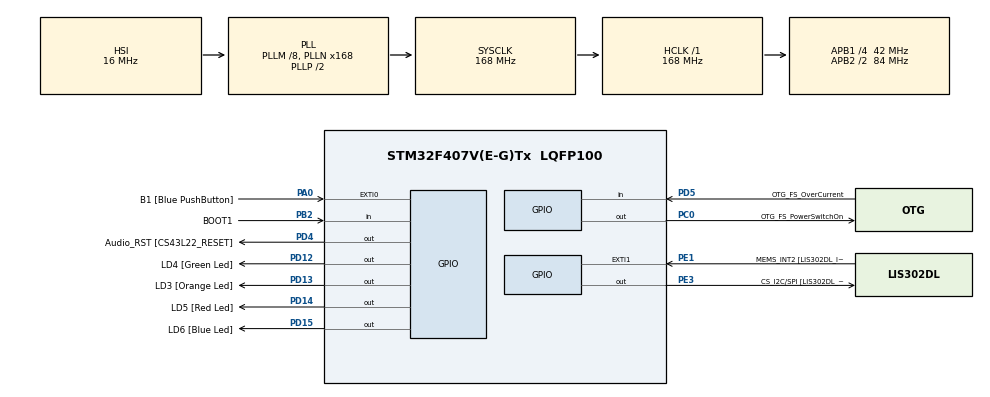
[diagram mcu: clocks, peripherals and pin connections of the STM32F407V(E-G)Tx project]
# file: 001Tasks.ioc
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Mcu.Family=STM32F4
Mcu.Name=STM32F407V(E-G)Tx
Mcu.Package=LQFP100
NVIC.PriorityGroup=NVIC_PRIORITYGROUP_4
NVIC.TIM6_DAC_IRQn=true\:15\:0\:false\:false\:true\:false\:true\:true
NVIC.TimeBase=TIM6_DAC_IRQn
NVIC.TimeBaseIP=TIM6
PA0-WKUP.GPIO_Label=B1 [Blue PushButton]
PA0-WKUP.Signal=GPXTI0
PA10.GPIO_Label=OTG_FS_ID
PA10.GPIO_Mode=GPIO_MODE_AF_PP
PA10.GPIO_PuPd=GPIO_NOPULL
PA10.GPIO_Speed=GPIO_SPEED_FREQ_LOW
PA10.Signal=USB_OTG_FS_ID
PA11.GPIO_Label=OTG_FS_DM
PA11.GPIO_Mode=GPIO_MODE_AF_PP
PA11.GPIO_PuPd=GPIO_NOPULL
PA11.GPIO_Speed=GPIO_SPEED_FREQ_LOW
PA11.Signal=USB_OTG_FS_DM
PA12.GPIO_Label=OTG_FS_DP
PA12.GPIO_Mode=GPIO_MODE_AF_PP
PA12.GPIO_PuPd=GPIO_NOPULL
PA12.GPIO_Speed=GPIO_SPEED_FREQ_LOW
PA12.Signal=USB_OTG_FS_DP
PA13.GPIO_Label=SWDIO
PA13.Signal=SYS_JTMS-SWDIO
PA14.GPIO_Label=SWCLK
PA14.Signal=SYS_JTCK-SWCLK
PA4.GPIO_Label=I2S3_WS [CS43L22_LRCK]
PA4.GPIO_Mode=GPIO_MODE_AF_PP
PA4.GPIO_PuPd=GPIO_NOPULL
PA4.GPIO_Speed=GPIO_SPEED_FREQ_LOW
PA4.Signal=I2S3_WS
PA5.GPIO_Label=SPI1_SCK [LIS302DL_SCL/SPC]
PA5.GPIO_Mode=GPIO_MODE_AF_PP
PA5.GPIO_PuPd=GPIO_NOPULL
PA5.GPIO_Speed=GPIO_SPEED_FREQ_LOW
PA5.Signal=SPI1_SCK
PA6.GPIO_Label=SPI1_MISO [LIS302DL_SDO]
PA6.GPIO_Mode=GPIO_MODE_AF_PP
PA6.GPIO_PuPd=GPIO_NOPULL
PA6.GPIO_Speed=GPIO_SPEED_FREQ_LOW
PA6.Signal=SPI1_MISO
PA7.GPIO_Label=SPI1_MOSI [LIS302DL_SDA/SDI/SDO]
PA7.GPIO_Mode=GPIO_MODE_AF_PP
PA7.GPIO_PuPd=GPIO_NOPULL
PA7.GPIO_Speed=GPIO_SPEED_FREQ_LOW
PA7.Signal=SPI1_MOSI
PA9.GPIO_Label=VBUS_FS
PA9.GPIO_Mode=GPIO_MODE_INPUT
PA9.GPIO_PuPd=GPIO_NOPULL
PA9.Signal=USB_OTG_FS_VBUS
PB10.GPIO_Label=CLK_IN [MP45DT02_CLK]
PB10.GPIO_Mode=GPIO_MODE_AF_PP
PB10.GPIO_PuPd=GPIO_NOPULL
PB10.GPIO_Speed=GPIO_SPEED_FREQ_LOW
PB10.Signal=I2S2_CK
PB2.GPIO_Label=BOOT1
PB2.GPIO_Mode=GPIO_MODE_INPUT
PB2.GPIO_PuPd=GPIO_NOPULL
PB2.Signal=GPIO_Input
PB3.GPIO_Label=SWO
PB3.Signal=SYS_JTDO-SWO
PB6.GPIO_Label=Audio_SCL [CS43L22_SCL]
PB6.GPIO_Mode=GPIO_MODE_AF_OD
PB6.GPIO_PuPd=GPIO_NOPULL
PB6.GPIO_Speed=GPIO_SPEED_FREQ_LOW
PB6.Signal=I2C1_SCL
PB9.GPIO_Label=Audio_SDA [CS43L22_SDA]
PB9.GPIO_Mode=GPIO_MODE_AF_OD
PB9.GPIO_PuPd=GPIO_NOPULL
PB9.GPIO_Speed=GPIO_SPEED_FREQ_LOW
PB9.Signal=I2C1_SDA
PC0.GPIO_Label=OTG_FS_PowerSwitchOn
PC0.GPIO_PuPd=GPIO_NOPULL
PC0.GPIO_Speed=GPIO_SPEED_FREQ_LOW
PC0.PinState=GPIO_PIN_SET
PC0.Signal=GPIO_Output
PC10.GPIO_Label=I2S3_SCK [CS43L22_SCLK]
PC10.GPIO_Mode=GPIO_MODE_AF_PP
PC10.GPIO_PuPd=GPIO_NOPULL
PC10.GPIO_Speed=GPIO_SPEED_FREQ_LOW
PC10.Signal=I2S3_CK
PC12.GPIO_Label=I2S3_SD [CS43L22_SDIN]
PC12.GPIO_Mode=GPIO_MODE_AF_PP
PC12.GPIO_PuPd=GPIO_NOPULL
PC12.GPIO_Speed=GPIO_SPEED_FREQ_LOW
PC12.Signal=I2S3_SD
PC14-OSC32_IN.GPIO_Label=PC14-OSC32_IN
PC14-OSC32_IN.Signal=RCC_OSC32_IN
PC15-OSC32_OUT.GPIO_Label=PC15-OSC32_OUT
PC15-OSC32_OUT.Signal=RCC_OSC32_OUT
PC3.GPIO_Label=PDM_OUT [MP45DT02_DOUT]
PC3.GPIO_Mode=GPIO_MODE_AF_PP
PC3.GPIO_PuPd=GPIO_NOPULL
PC3.GPIO_Speed=GPIO_SPEED_FREQ_LOW
PC3.Signal=I2S2_SD
PC7.GPIO_Label=I2S3_MCK [CS43L22_MCLK]
PC7.GPIO_Mode=GPIO_MODE_AF_PP
PC7.GPIO_PuPd=GPIO_NOPULL
PC7.GPIO_Speed=GPIO_SPEED_FREQ_LOW
PC7.Signal=I2S3_MCK
PD12.GPIO_Label=LD4 [Green Led]
PD12.GPIO_PuPd=GPIO_NOPULL
PD12.GPIO_Speed=GPIO_SPEED_FREQ_LOW
PD12.Signal=GPIO_Output
PD13.GPIO_Label=LD3 [Orange Led]
PD13.GPIO_PuPd=GPIO_NOPULL
PD13.GPIO_Speed=GPIO_SPEED_FREQ_LOW
PD13.Signal=GPIO_Output
PD14.GPIO_Label=LD5 [Red Led]
PD14.GPIO_PuPd=GPIO_NOPULL
PD14.GPIO_Speed=GPIO_SPEED_FREQ_LOW
PD14.Signal=GPIO_Output
PD15.GPIO_Label=LD6 [Blue Led]
PD15.GPIO_PuPd=GPIO_NOPULL
PD15.GPIO_Speed=GPIO_SPEED_FREQ_LOW
PD15.Signal=GPIO_Output
PD4.GPIO_Label=Audio_RST [CS43L22_RESET]
PD4.GPIO_PuPd=GPIO_NOPULL
PD4.GPIO_Speed=GPIO_SPEED_FREQ_LOW
PD4.Signal=GPIO_Output
PD5.GPIO_Label=OTG_FS_OverCurrent
PD5.GPIO_Mode=GPIO_MODE_INPUT
PD5.GPIO_PuPd=GPIO_NOPULL
PD5.Signal=GPIO_Input
PE1.GPIO_Label=MEMS_INT2 [LIS302DL_INT2]
PE1.GPIO_ModeDefaultEXTI=GPIO_MODE_EVT_RISING
PE1.GPIO_PuPd=GPIO_NOPULL
PE1.Signal=GPXTI1
PE3.GPIO_Label=CS_I2C/SPI [LIS302DL_CS_I2C/SPI]
PE3.GPIO_PuPd=GPIO_NOPULL
PE3.GPIO_Speed=GPIO_SPEED_FREQ_LOW
PE3.Signal=GPIO_Output
PH0-OSC_IN.GPIO_Label=PH0-OSC_IN
PH0-OSC_IN.Signal=RCC_OSC_IN
PH1-OSC_OUT.GPIO_Label=PH1-OSC_OUT
PH1-OSC_OUT.Signal=RCC_OSC_OUT
ProjectManager.HeapSize=0x200
ProjectManager.StackSize=0x400
ProjectManager.TargetToolchain=STM32CubeIDE
RCC.48MHZClocksFreq_Value=48000000
RCC.AHBFreq_Value=168000000
RCC.APB1CLKDivider=RCC_HCLK_DIV4
RCC.APB1Freq_Value=42000000
RCC.APB1TimFreq_Value=84000000
RCC.APB2CLKDivider=RCC_HCLK_DIV2
RCC.APB2Freq_Value=84000000
RCC.APB2TimFreq_Value=168000000
RCC.CortexFreq_Value=168000000
RCC.HCLKFreq_Value=168000000
RCC.HSE_VALUE=8000000
RCC.HSI_VALUE=16000000
RCC.LSE_VALUE=32768
RCC.PLLM=8
RCC.PLLN=168
RCC.PLLQ=7
RCC.SYSCLKFreq_VALUE=168000000
RCC.SYSCLKSource=RCC_SYSCLKSOURCE_PLLCLK
RCC.VCOOutputFreq_Value=336000000
VP_SYS_VS_tim6.Mode=TIM6
board=STM32F407G-DISC1

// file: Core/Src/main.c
/* USER CODE BEGIN Header */
/**
  ******************************************************************************
  * @file           : main.c
  * @brief          : Main program body
  ******************************************************************************
  * @attention
  *
  * Copyright (c) 2025 STMicroelectronics.
  * All rights reserved.
  *
  * This software is licensed under terms that can be found in the LICENSE file
  * in the root directory of this software component.
  * If no LICENSE file comes with this software, it is provided AS-IS.
  *
  ******************************************************************************
  */
/* USER CODE END Header */
#include "main.h"

/* USER CODE BEGIN Includes */
#include <stdio.h>
#include "FreeRTOS.h"
#include "task.h"
/* USER CODE END Includes */

/* USER CODE BEGIN PV */

#define DWT_CTRL 			(*(volatile uint32_t*)0xE0001000)

/* USER CODE END PV */

void SystemClock_Config(void);
static void MX_GPIO_Init(void);
/* USER CODE BEGIN PFP */

static void task1_handler(void* parameters);
static void task2_handler(void* parameters);

/* USER CODE END PFP */

/* USER CODE BEGIN 0 */
extern void initialise_monitor_handles(void);
/* USER CODE END 0 */

int main(void)
{

  /* USER CODE BEGIN 1 */
	initialise_monitor_handles();

	TaskHandle_t task1_handle;
	TaskHandle_t task2_handle;

	BaseType_t status;

  /* USER CODE END 1 */

  /* MCU Configuration--------------------------------------------------------*/

  /* Reset of all peripherals, Initializes the Flash interface and the Systick. */
  HAL_Init();

  /* Configure the system clock */
  SystemClock_Config();

  /* Initialize all configured peripherals */
  MX_GPIO_Init();
  /* USER CODE BEGIN 2 */

  //enable the CYCCNT
  DWT_CTRL |= (1 << 0);

  SEGGER_UART_init(500000);

  SEGGER_SYSVIEW_Conf();

  //SEGGER_SYSVIEW_Start();//priority group initializon need for this function, although scheduler setting priority but scheduler run then this func
  //comment in this out because in segger_uart.c we give this function

  status = xTaskCreate(task1_handler, "Task-1", 200, "Hello world from Task-1", 2, &task1_handle);
  configASSERT(status == pdPASS);

  status = xTaskCreate(task2_handler, "Task-2", 200, "Hello world from Task-2", 2, &task2_handle);
  configASSERT(status == pdPASS);

  //start the freeRTOS scheduler
  vTaskStartScheduler();//This function never returns unless there is a problem to launch the scheduler. The problem could be insufficient memory, which is available in your system RAM to launch the scheduler. In that case, this function may return.
  //if the control comes here, then the launch of the scheduler has failed due to insufficient memory. Actually, insufficient memory in the heap

  /* USER CODE END 2 */

  /* Infinite loop */
  while (1)
  {

  }
}

void SystemClock_Config(void)
{
  RCC_OscInitTypeDef RCC_OscInitStruct = {0};
  RCC_ClkInitTypeDef RCC_ClkInitStruct = {0};

  /** Configure the main internal regulator output voltage
  */
  __HAL_RCC_PWR_CLK_ENABLE();
  __HAL_PWR_VOLTAGESCALING_CONFIG(PWR_REGULATOR_VOLTAGE_SCALE1);

  /** Initializes the RCC Oscillators according to the specified parameters
  * in the RCC_OscInitTypeDef structure.
  */
  RCC_OscInitStruct.OscillatorType = RCC_OSCILLATORTYPE_HSI;
  RCC_OscInitStruct.HSIState = RCC_HSI_ON;
  RCC_OscInitStruct.HSICalibrationValue = RCC_HSICALIBRATION_DEFAULT;
  RCC_OscInitStruct.PLL.PLLState = RCC_PLL_ON;
  RCC_OscInitStruct.PLL.PLLSource = RCC_PLLSOURCE_HSI;
  RCC_OscInitStruct.PLL.PLLM = 8;
  RCC_OscInitStruct.PLL.PLLN = 168;
  RCC_OscInitStruct.PLL.PLLP = RCC_PLLP_DIV2;
  RCC_OscInitStruct.PLL.PLLQ = 7;
  if (HAL_RCC_OscConfig(&RCC_OscInitStruct) != HAL_OK)
  {
    Error_Handler();
  }

  /** Initializes the CPU, AHB and APB buses clocks
  */
  RCC_ClkInitStruct.ClockType = RCC_CLOCKTYPE_HCLK|RCC_CLOCKTYPE_SYSCLK
                              |RCC_CLOCKTYPE_PCLK1|RCC_CLOCKTYPE_PCLK2;
  RCC_ClkInitStruct.SYSCLKSource = RCC_SYSCLKSOURCE_PLLCLK;
  RCC_ClkInitStruct.AHBCLKDivider = RCC_SYSCLK_DIV1;
  RCC_ClkInitStruct.APB1CLKDivider = RCC_HCLK_DIV4;
  RCC_ClkInitStruct.APB2CLKDivider = RCC_HCLK_DIV2;

  if (HAL_RCC_ClockConfig(&RCC_ClkInitStruct, FLASH_LATENCY_5) != HAL_OK)
  {
    Error_Handler();
  }
}

static void MX_GPIO_Init(void)
{
  GPIO_InitTypeDef GPIO_InitStruct = {0};

  /* GPIO Ports Clock Enable */
  __HAL_RCC_GPIOE_CLK_ENABLE();
  __HAL_RCC_GPIOC_CLK_ENABLE();
  __HAL_RCC_GPIOH_CLK_ENABLE();
  __HAL_RCC_GPIOA_CLK_ENABLE();
  __HAL_RCC_GPIOB_CLK_ENABLE();
  __HAL_RCC_GPIOD_CLK_ENABLE();

  /*Configure GPIO pin Output Level */
  HAL_GPIO_WritePin(CS_I2C_SPI_GPIO_Port, CS_I2C_SPI_Pin, GPIO_PIN_RESET);

  /*Configure GPIO pin Output Level */
  HAL_GPIO_WritePin(OTG_FS_PowerSwitchOn_GPIO_Port, OTG_FS_PowerSwitchOn_Pin, GPIO_PIN_SET);

  /*Configure GPIO pin Output Level */
  HAL_GPIO_WritePin(GPIOD, LD4_Pin|LD3_Pin|LD5_Pin|LD6_Pin
                          |Audio_RST_Pin, GPIO_PIN_RESET);

  /*Configure GPIO pin : CS_I2C_SPI_Pin */
  GPIO_InitStruct.Pin = CS_I2C_SPI_Pin;
  GPIO_InitStruct.Mode = GPIO_MODE_OUTPUT_PP;
  GPIO_InitStruct.Pull = GPIO_NOPULL;
  GPIO_InitStruct.Speed = GPIO_SPEED_FREQ_LOW;
  HAL_GPIO_Init(CS_I2C_SPI_GPIO_Port, &GPIO_InitStruct);

  /*Configure GPIO pin : OTG_FS_PowerSwitchOn_Pin */
  GPIO_InitStruct.Pin = OTG_FS_PowerSwitchOn_Pin;
  GPIO_InitStruct.Mode = GPIO_MODE_OUTPUT_PP;
  GPIO_InitStruct.Pull = GPIO_NOPULL;
  GPIO_InitStruct.Speed = GPIO_SPEED_FREQ_LOW;
  HAL_GPIO_Init(OTG_FS_PowerSwitchOn_GPIO_Port, &GPIO_InitStruct);

  /*Configure GPIO pin : PDM_OUT_Pin */
  GPIO_InitStruct.Pin = PDM_OUT_Pin;
  GPIO_InitStruct.Mode = GPIO_MODE_AF_PP;
  GPIO_InitStruct.Pull = GPIO_NOPULL;
  GPIO_InitStruct.Speed = GPIO_SPEED_FREQ_LOW;
  GPIO_InitStruct.Alternate = GPIO_AF5_SPI2;
  HAL_GPIO_Init(PDM_OUT_GPIO_Port, &GPIO_InitStruct);

  /*Configure GPIO pin : B1_Pin */
  GPIO_InitStruct.Pin = B1_Pin;
  GPIO_InitStruct.Mode = GPIO_MODE_IT_RISING;
  GPIO_InitStruct.Pull = GPIO_NOPULL;
  HAL_GPIO_Init(B1_GPIO_Port, &GPIO_InitStruct);

  /*Configure GPIO pin : I2S3_WS_Pin */
  GPIO_InitStruct.Pin = I2S3_WS_Pin;
  GPIO_InitStruct.Mode = GPIO_MODE_AF_PP;
  GPIO_InitStruct.Pull = GPIO_NOPULL;
  GPIO_InitStruct.Speed = GPIO_SPEED_FREQ_LOW;
  GPIO_InitStruct.Alternate = GPIO_AF6_SPI3;
  HAL_GPIO_Init(I2S3_WS_GPIO_Port, &GPIO_InitStruct);

  /*Configure GPIO pins : SPI1_SCK_Pin SPI1_MISO_Pin SPI1_MOSI_Pin */
  GPIO_InitStruct.Pin = SPI1_SCK_Pin|SPI1_MISO_Pin|SPI1_MOSI_Pin;
  GPIO_InitStruct.Mode = GPIO_MODE_AF_PP;
  GPIO_InitStruct.Pull = GPIO_NOPULL;
  GPIO_InitStruct.Speed = GPIO_SPEED_FREQ_LOW;
  GPIO_InitStruct.Alternate = GPIO_AF5_SPI1;
  HAL_GPIO_Init(GPIOA, &GPIO_InitStruct);

  /*Configure GPIO pin : BOOT1_Pin */
  GPIO_InitStruct.Pin = BOOT1_Pin;
  GPIO_InitStruct.Mode = GPIO_MODE_INPUT;
  GPIO_InitStruct.Pull = GPIO_NOPULL;
  HAL_GPIO_Init(BOOT1_GPIO_Port, &GPIO_InitStruct);

  /*Configure GPIO pin : CLK_IN_Pin */
  GPIO_InitStruct.Pin = CLK_IN_Pin;
  GPIO_InitStruct.Mode = GPIO_MODE_AF_PP;
  GPIO_InitStruct.Pull = GPIO_NOPULL;
  GPIO_InitStruct.Speed = GPIO_SPEED_FREQ_LOW;
  GPIO_InitStruct.Alternate = GPIO_AF5_SPI2;
  HAL_GPIO_Init(CLK_IN_GPIO_Port, &GPIO_InitStruct);

  /*Configure GPIO pins : LD4_Pin LD3_Pin LD5_Pin LD6_Pin
                           Audio_RST_Pin */
  GPIO_InitStruct.Pin = LD4_Pin|LD3_Pin|LD5_Pin|LD6_Pin
                          |Audio_RST_Pin;
  GPIO_InitStruct.Mode = GPIO_MODE_OUTPUT_PP;
  GPIO_InitStruct.Pull = GPIO_NOPULL;
  GPIO_InitStruct.Speed = GPIO_SPEED_FREQ_LOW;
  HAL_GPIO_Init(GPIOD, &GPIO_InitStruct);

  /*Configure GPIO pins : I2S3_MCK_Pin I2S3_SCK_Pin I2S3_SD_Pin */
  GPIO_InitStruct.Pin = I2S3_MCK_Pin|I2S3_SCK_Pin|I2S3_SD_Pin;
  GPIO_InitStruct.Mode = GPIO_MODE_AF_PP;
  GPIO_InitStruct.Pull = GPIO_NOPULL;
  GPIO_InitStruct.Speed = GPIO_SPEED_FREQ_LOW;
  GPIO_InitStruct.Alternate = GPIO_AF6_SPI3;
  HAL_GPIO_Init(GPIOC, &GPIO_InitStruct);

  /*Configure GPIO pin : VBUS_FS_Pin */
  GPIO_InitStruct.Pin = VBUS_FS_Pin;
  GPIO_InitStruct.Mode = GPIO_MODE_INPUT;
  GPIO_InitStruct.Pull = GPIO_NOPULL;
  HAL_GPIO_Init(VBUS_FS_GPIO_Port, &GPIO_InitStruct);

  /*Configure GPIO pins : OTG_FS_ID_Pin OTG_FS_DM_Pin OTG_FS_DP_Pin */
  GPIO_InitStruct.Pin = OTG_FS_ID_Pin|OTG_FS_DM_Pin|OTG_FS_DP_Pin;
  GPIO_InitStruct.Mode = GPIO_MODE_AF_PP;
  GPIO_InitStruct.Pull = GPIO_NOPULL;
  GPIO_InitStruct.Speed = GPIO_SPEED_FREQ_LOW;
  GPIO_InitStruct.Alternate = GPIO_AF10_OTG_FS;
  HAL_GPIO_Init(GPIOA, &GPIO_InitStruct);

  /*Configure GPIO pin : OTG_FS_OverCurrent_Pin */
  GPIO_InitStruct.Pin = OTG_FS_OverCurrent_Pin;
  GPIO_InitStruct.Mode = GPIO_MODE_INPUT;
  GPIO_InitStruct.Pull = GPIO_NOPULL;
  HAL_GPIO_Init(OTG_FS_OverCurrent_GPIO_Port, &GPIO_InitStruct);

  /*Configure GPIO pins : Audio_SCL_Pin Audio_SDA_Pin */
  GPIO_InitStruct.Pin = Audio_SCL_Pin|Audio_SDA_Pin;
  GPIO_InitStruct.Mode = GPIO_MODE_AF_OD;
  GPIO_InitStruct.Pull = GPIO_NOPULL;
  GPIO_InitStruct.Speed = GPIO_SPEED_FREQ_LOW;
  GPIO_InitStruct.Alternate = GPIO_AF4_I2C1;
  HAL_GPIO_Init(GPIOB, &GPIO_InitStruct);

  /*Configure GPIO pin : MEMS_INT2_Pin */
  GPIO_InitStruct.Pin = MEMS_INT2_Pin;
  GPIO_InitStruct.Mode = GPIO_MODE_EVT_RISING;
  GPIO_InitStruct.Pull = GPIO_NOPULL;
  HAL_GPIO_Init(MEMS_INT2_GPIO_Port, &GPIO_InitStruct);

}

/* USER CODE BEGIN 4 */

static void task1_handler(void* parameters){
	char msg[100];
	while(1){
		//printf("%s\n", (char*)parameters); //calling thirdParty>SEGGER>SEGGER>Syscalls>>SEGGER_RTT_Syscalls_GCC.c , going through SWO pin
		//not use _WRITE function in Core>syscalls.c because this is _WEAK attribute
		//use the _WRITE function in SEGGER>SEGGER>Syscalls>SEGGER_RTT_Syscalls_GCC.c
		 snprintf(msg,100,"%s\n",(char*)parameters); //we want string type for SEGGER_SYSVIEW_PrintfTarget and function wants formatted string
		 SEGGER_SYSVIEW_PrintfTarget(msg);//void SEGGER_SYSVIEW_Print(const char * s)
		taskYIELD();
	}
}

static void task2_handler(void* parameters){
	char msg[100];
	while(1){
		//printf("%s\n", (char*)parameters);
		snprintf(msg,100,"%s\n",(char*)parameters); //we want string type for SEGGER_SYSVIEW_Print
		SEGGER_SYSVIEW_PrintfTarget(msg);//void SEGGER_SYSVIEW_Print(const char * s)
		taskYIELD();
	}
}

/* USER CODE END 4 */

void HAL_TIM_PeriodElapsedCallback(TIM_HandleTypeDef *htim)
{
  if (htim->Instance == TIM6)
  {
    HAL_IncTick();
  }
}

void Error_Handler(void)
{
  __disable_irq();
  while (1)
  {
  }
}
